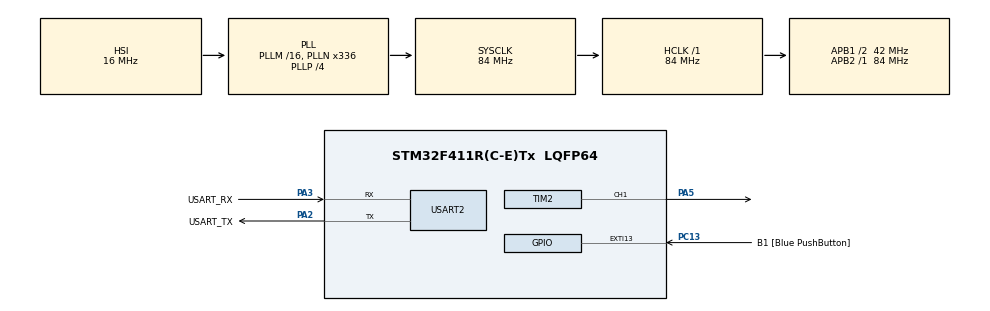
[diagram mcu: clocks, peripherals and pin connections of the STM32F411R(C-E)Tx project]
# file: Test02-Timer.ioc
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Mcu.Family=STM32F4
Mcu.Name=STM32F411R(C-E)Tx
Mcu.Package=LQFP64
NVIC.EXTI15_10_IRQn=true\:0\:0\:false\:false\:true\:true\:true\:true
NVIC.PriorityGroup=NVIC_PRIORITYGROUP_0
NVIC.TIM3_IRQn=true\:0\:0\:false\:false\:true\:true\:true\:true
PA13.GPIO_Label=TMS
PA13.Mode=Serial_Wire
PA13.Signal=SYS_JTMS-SWDIO
PA14.GPIO_Label=TCK
PA14.Mode=Serial_Wire
PA14.Signal=SYS_JTCK-SWCLK
PA2.GPIO_Label=USART_TX
PA2.Mode=Asynchronous
PA2.Signal=USART2_TX
PA3.GPIO_Label=USART_RX
PA3.Mode=Asynchronous
PA3.Signal=USART2_RX
PA5.Signal=S_TIM2_CH1_ETR
PB3.GPIO_Label=SWO
PB3.Signal=SYS_JTDO-SWO
PC13-ANTI_TAMP.GPIO_Label=B1 [Blue PushButton]
PC13-ANTI_TAMP.GPIO_ModeDefaultEXTI=GPIO_MODE_IT_FALLING
PC13-ANTI_TAMP.Signal=GPXTI13
PC14-OSC32_IN.Mode=LSE-External-Oscillator
PC14-OSC32_IN.Signal=RCC_OSC32_IN
PC15-OSC32_OUT.Mode=LSE-External-Oscillator
PC15-OSC32_OUT.Signal=RCC_OSC32_OUT
PH0\ -\ OSC_IN.Mode=HSE-External-Clock-Source
PH0\ -\ OSC_IN.Signal=RCC_OSC_IN
PH1\ -\ OSC_OUT.Mode=HSE-External-Clock-Source
PH1\ -\ OSC_OUT.Signal=RCC_OSC_OUT
ProjectManager.HeapSize=0x200
ProjectManager.StackSize=0x400
ProjectManager.TargetToolchain=STM32CubeIDE
RCC.48MHZClocksFreq_Value=84000000
RCC.AHBFreq_Value=84000000
RCC.APB1CLKDivider=RCC_HCLK_DIV2
RCC.APB1Freq_Value=42000000
RCC.APB1TimFreq_Value=84000000
RCC.APB2Freq_Value=84000000
RCC.APB2TimFreq_Value=84000000
RCC.CortexFreq_Value=84000000
RCC.FLatency-AdvancedSettings=FLASH_LATENCY_2
RCC.HCLKFreq_Value=84000000
RCC.HSE_VALUE=8000000
RCC.HSI_VALUE=16000000
RCC.PLLN=336
RCC.PLLP=RCC_PLLP_DIV4
RCC.SYSCLKFreq_VALUE=84000000
RCC.SYSCLKSource=RCC_SYSCLKSOURCE_PLLCLK
RCC.VCOOutputFreq_Value=336000000
SH.S_TIM2_CH1_ETR.0=TIM2_CH1,PWM Generation1 CH1
TIM2.Channel-PWM\ Generation1\ CH1=TIM_CHANNEL_1
TIM2.Period=1000-1
TIM2.Prescaler=84-1
TIM3.Period=5000-1
TIM3.Prescaler=8400-1
TIM5.AutoReloadPreload=TIM_AUTORELOAD_PRELOAD_ENABLE
TIM5.Period=4294967295
TIM5.Prescaler=84-1
USART2.VirtualMode=VM_ASYNC
VP_TIM2_VS_ClockSourceINT.Mode=Internal
VP_TIM3_VS_ClockSourceINT.Mode=Internal
VP_TIM5_VS_ClockSourceINT.Mode=Internal
board=NUCLEO-F411RE

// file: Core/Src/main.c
/* USER CODE BEGIN Header */
/**
  ******************************************************************************
  * @file           : main.c
  * @brief          : Main program body
  ******************************************************************************
  * @attention
  *
  * Copyright (c) 2023 STMicroelectronics.
  * All rights reserved.
  *
  * This software is licensed under terms that can be found in the LICENSE file
  * in the root directory of this software component.
  * If no LICENSE file comes with this software, it is provided AS-IS.
  *
  ******************************************************************************
  */
/* USER CODE END Header */
#include "main.h"
#include "tim.h"
#include "usart.h"
#include "gpio.h"

/* USER CODE BEGIN Includes */
#include <stdio.h>
/* USER CODE END Includes */

/* USER CODE BEGIN PD */
#define STEP	10
/* USER CODE END PD */

/* USER CODE BEGIN PV */
int cnt = 0;
int gap = 0; // steps to reach ARR
int pwm_pwr = 0;
/* USER CODE END PV */

void SystemClock_Config(void);
/* USER CODE BEGIN PFP */

void my_Delay(int _interval);

void HAL_TIM_PeriodElapsedCallback(TIM_HandleTypeDef* htim)
{
	// 1. Timer Interrupt Callback func
	// it works in every 1sec

	// HAL_GPIO_TogglePin(LD2_GPIO_Port, LD2_Pin);
	// HAL_Delay(10); // Timer works every 0.5sec, but delay 1sec it makes some bug
					  // don't use heavy works in interrupt
					  // also, don't use delay in interrupt

	// 2. Counter delay
	// my_Delay(10 * 1000);

	printf("\033[11;30HTimer3... %d \r\n", cnt++);
}

void HAL_GPIO_EXTI_Callback(uint16_t GPIO_Pin) // Interrupt Callback function
{
//	pwm_pwr += 50;
//
//	if(pwm_pwr > 1000)
//	{
//		pwm_pwr = 0;
//	}
//
//	printf("pwm_pwr : %d\r\n", pwm_pwr);

	if(pwm_pwr++ > STEP)
	{
		pwm_pwr = 0;
	}

	printf("pwm_pwr : %d\r\n", pwm_pwr);
}

/* USER CODE END PFP */

/* USER CODE BEGIN 0 */
void my_Delay(int _interval) // make some usec delay, _interval : usec
{
	// delay func made with counter

	// htim5 is struct

	// volatile int start = htim5.Instance->CNT;
	htim5.Instance->CNT = 0; // reset timer 5 cnt value

	while(1)
	{
//		volatile int cur = htim5.Instance->CNT;
//
//		if((cur - start) > _interval)
//		{
//			return;
//		}

		// do nothing until reach "_interval"

		if(htim5.Instance->CNT > _interval)
		{
			return;
		}
	}
}

int __io_putchar(int ch) // output on console
{
	HAL_UART_Transmit(&huart2, &ch, sizeof(ch), 10);

	return ch;
}

//int __io_getchar(void)

/* USER CODE END 0 */

int main(void)
{

  /* MCU Configuration--------------------------------------------------------*/

  /* Reset of all peripherals, Initializes the Flash interface and the Systick. */
  HAL_Init();

  /* Configure the system clock */
  SystemClock_Config();

  /* Initialize all configured peripherals */
  MX_GPIO_Init();
  MX_USART2_UART_Init();
  MX_TIM3_Init();
  MX_TIM5_Init();
  MX_TIM2_Init();
  /* USER CODE BEGIN 2 */

  printf("\033[1JProgram started...!\r\n");
  // 0x1b[0j is same as \033[0j

  // "start" is needed
  HAL_TIM_PWM_Start(&htim2, TIM_CHANNEL_1); // using pwm
  //HAL_TIM_Base_Start_IT(&htim3); // Timer Interrupt start with handler_timer3
  //HAL_TIM_Base_Start(&htim5);

  // int ccr = 0;

  gap = htim2.Instance->ARR / STEP;
  /* USER CODE END 2 */

  /* Infinite loop */
  /* USER CODE BEGIN WHILE */
  while (1)
  {
	  htim2.Instance->CCR1 = pwm_pwr * gap;

//	  if (ccr > htim2.Instance->ARR)
//	  {
//		  ccr = 0;
//	  }

	  // my_Delay(10*1000);

    /* USER CODE END WHILE */

  }
}

void SystemClock_Config(void)
{
  RCC_OscInitTypeDef RCC_OscInitStruct = {0};
  RCC_ClkInitTypeDef RCC_ClkInitStruct = {0};

  /** Configure the main internal regulator output voltage
  */
  __HAL_RCC_PWR_CLK_ENABLE();
  __HAL_PWR_VOLTAGESCALING_CONFIG(PWR_REGULATOR_VOLTAGE_SCALE1);

  /** Initializes the RCC Oscillators according to the specified parameters
  * in the RCC_OscInitTypeDef structure.
  */
  RCC_OscInitStruct.OscillatorType = RCC_OSCILLATORTYPE_HSI;
  RCC_OscInitStruct.HSIState = RCC_HSI_ON;
  RCC_OscInitStruct.HSICalibrationValue = RCC_HSICALIBRATION_DEFAULT;
  RCC_OscInitStruct.PLL.PLLState = RCC_PLL_ON;
  RCC_OscInitStruct.PLL.PLLSource = RCC_PLLSOURCE_HSI;
  RCC_OscInitStruct.PLL.PLLM = 16;
  RCC_OscInitStruct.PLL.PLLN = 336;
  RCC_OscInitStruct.PLL.PLLP = RCC_PLLP_DIV4;
  RCC_OscInitStruct.PLL.PLLQ = 4;
  if (HAL_RCC_OscConfig(&RCC_OscInitStruct) != HAL_OK)
  {
    Error_Handler();
  }

  /** Initializes the CPU, AHB and APB buses clocks
  */
  RCC_ClkInitStruct.ClockType = RCC_CLOCKTYPE_HCLK|RCC_CLOCKTYPE_SYSCLK
                              |RCC_CLOCKTYPE_PCLK1|RCC_CLOCKTYPE_PCLK2;
  RCC_ClkInitStruct.SYSCLKSource = RCC_SYSCLKSOURCE_PLLCLK;
  RCC_ClkInitStruct.AHBCLKDivider = RCC_SYSCLK_DIV1;
  RCC_ClkInitStruct.APB1CLKDivider = RCC_HCLK_DIV2;
  RCC_ClkInitStruct.APB2CLKDivider = RCC_HCLK_DIV1;

  if (HAL_RCC_ClockConfig(&RCC_ClkInitStruct, FLASH_LATENCY_2) != HAL_OK)
  {
    Error_Handler();
  }
}

void Error_Handler(void)
{
  __disable_irq();
  while (1)
  {
  }
}
